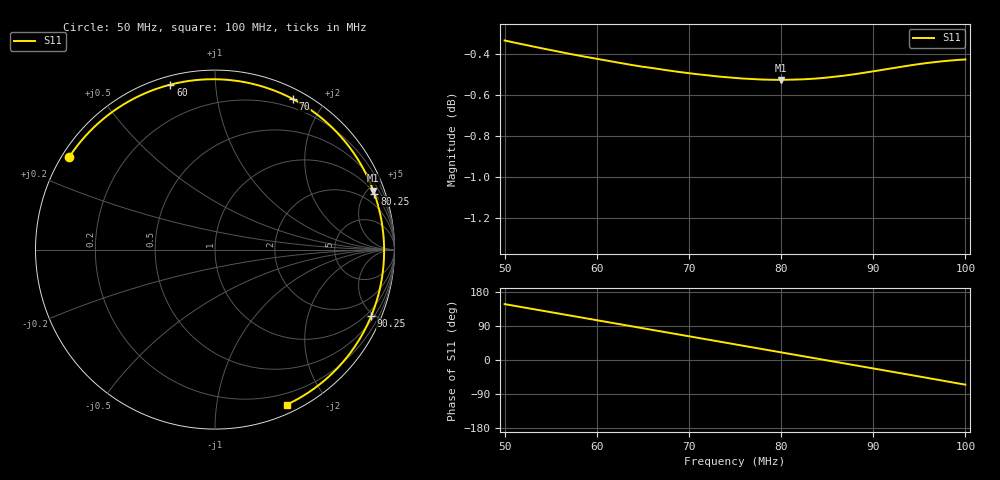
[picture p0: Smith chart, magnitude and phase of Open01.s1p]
!Agilent Technologies,E5072A,MY51200456,A.01.06
!Date: Mon Aug 31 08:06:08 2015
!Data & Calibration Information:
!Freq	S11:SOLT1(ON)
!PortZ  Port1:50+j0
!Above PortZ is port z conversion or system Z0 setting when saving the data.
!When reading, reference impedance value at option line is always used.
# Hz S dB R 50
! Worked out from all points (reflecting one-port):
!   201 points, 50 MHz to 100 MHz, reference 50 ohm
!   lowest |S11| = -0.5 dB at 80 MHz (marker M1), VSWR 32.96, Z = 46.9 + j270 ohm
!   phase of S11 starts at 147 deg and turns -213 deg over the sweep
!   S11 on the Smith chart (normalised r, x): 50 MHz: 0.02, +0.29; 60 MHz: 0.04, +0.77; 70 MHz: 0.10, +1.64; 80.25 MHz: 1.04, +5.68; 90.25 MHz: 0.68, -4.80; 100 MHz: 0.08, -1.56
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5e7  -0.34 147.5
5.325e7  -0.37 133.7
5.625e7  -0.39 121.0
5.825e7  -0.41 112.5
6e7  -0.43 105.1
6.25e7  -0.45 94.5
6.4e7  -0.46 88.2
6.55e7  -0.47 81.8
6.7e7  -0.48 75.5
6.875e7  -0.49 68.0
7e7  -0.49 62.7
7.25e7  -0.51 52.2
7.5e7  -0.52 41.6
7.75e7  -0.52 31.0
8e7  -0.53 20.4
8.025e7  -0.53 19.4
8.125e7  -0.53 15.1
8.275e7  -0.52 8.8
8.45e7  -0.52 1.4
8.6e7  -0.51 -5.0
8.75e7  -0.50 -11.4
9.025e7  -0.48 -23.1
9.2e7  -0.47 -30.6
9.375e7  -0.46 -38.1
9.525e7  -0.45 -44.6
9.7e7  -0.44 -52.2
9.85e7  -0.43 -58.6
1e8  -0.43 -65.1
